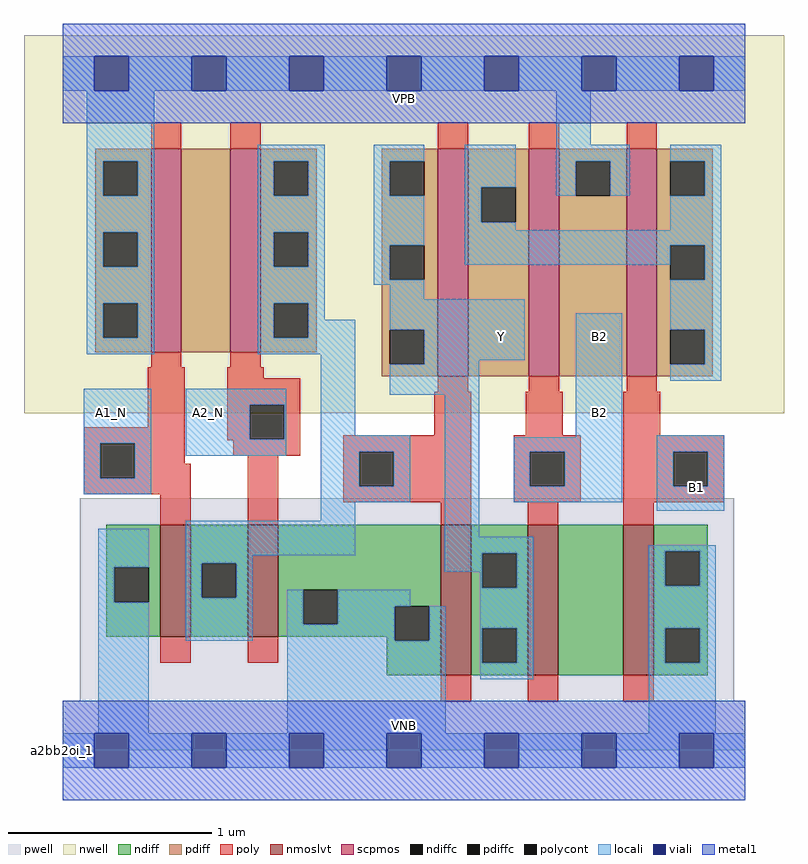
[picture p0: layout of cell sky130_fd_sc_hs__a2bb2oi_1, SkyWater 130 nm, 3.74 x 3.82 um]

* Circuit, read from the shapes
.subckt sky130_fd_sc_hs__a2bb2oi_1 A1_N A2_N B1 B2 VGND VNB VPB VPWR Y
XM1 n1 A1_N VGND VNB sky130_fd_pr__nfet_01v8_lvt w=0.55 l=0.15
XM2 VGND A2_N n1 VNB sky130_fd_pr__nfet_01v8_lvt w=0.55 l=0.15
XM3 Y n1 VGND VNB sky130_fd_pr__nfet_01v8_lvt w=0.74 l=0.15
XM4 n2 B2 Y VNB sky130_fd_pr__nfet_01v8_lvt w=0.74 l=0.15
XM5 VGND B1 n2 VNB sky130_fd_pr__nfet_01v8_lvt w=0.74 l=0.15
XM6 n3 A1_N VPWR VPB sky130_fd_pr__pfet_01v8 w=1 l=0.15
XM7 n1 A2_N n3 VPB sky130_fd_pr__pfet_01v8 w=1 l=0.15
XM8 n4 n1 Y VPB sky130_fd_pr__pfet_01v8 w=1.12 l=0.15
XM9 VPWR B2 n4 VPB sky130_fd_pr__pfet_01v8 w=1.12 l=0.15
XM10 n4 B1 VPWR VPB sky130_fd_pr__pfet_01v8 w=1.12 l=0.15
.ends

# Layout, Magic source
magic
tech sky130A
magscale 1 2
<< nwell >>
rect -38 332 710 704
<< pwell >>
rect 17 49 661 248
rect 0 0 672 49
<< scpmos >>
rect 87 392 117 592
rect 165 392 195 592
rect 369 368 399 592
rect 459 368 489 592
rect 555 368 585 592
<< nmoslvt >>
rect 96 112 126 222
rect 182 112 212 222
rect 372 74 402 222
rect 458 74 488 222
rect 552 74 582 222
<< ndiff >>
rect 43 180 96 222
rect 43 146 51 180
rect 85 146 96 180
rect 43 112 96 146
rect 126 184 182 222
rect 126 150 137 184
rect 171 150 182 184
rect 126 112 182 150
rect 212 158 372 222
rect 212 124 237 158
rect 271 142 372 158
rect 271 124 327 142
rect 212 112 327 124
rect 319 108 327 112
rect 361 108 372 142
rect 319 74 372 108
rect 402 194 458 222
rect 402 160 413 194
rect 447 160 458 194
rect 402 120 458 160
rect 402 86 413 120
rect 447 86 458 120
rect 402 74 458 86
rect 488 74 552 222
rect 582 196 635 222
rect 582 162 593 196
rect 627 162 635 196
rect 582 120 635 162
rect 582 86 593 120
rect 627 86 635 120
rect 582 74 635 86
<< pdiff >>
rect 32 580 87 592
rect 32 546 40 580
rect 74 546 87 580
rect 32 510 87 546
rect 32 476 40 510
rect 74 476 87 510
rect 32 440 87 476
rect 32 406 40 440
rect 74 406 87 440
rect 32 392 87 406
rect 117 392 165 592
rect 195 580 250 592
rect 195 546 208 580
rect 242 546 250 580
rect 195 510 250 546
rect 195 476 208 510
rect 242 476 250 510
rect 195 440 250 476
rect 195 406 208 440
rect 242 406 250 440
rect 195 392 250 406
rect 314 580 369 592
rect 314 546 322 580
rect 356 546 369 580
rect 314 497 369 546
rect 314 463 322 497
rect 356 463 369 497
rect 314 414 369 463
rect 314 380 322 414
rect 356 380 369 414
rect 314 368 369 380
rect 399 554 459 592
rect 399 520 412 554
rect 446 520 459 554
rect 399 368 459 520
rect 489 580 555 592
rect 489 546 505 580
rect 539 546 555 580
rect 489 368 555 546
rect 585 580 640 592
rect 585 546 598 580
rect 632 546 640 580
rect 585 497 640 546
rect 585 463 598 497
rect 632 463 640 497
rect 585 414 640 463
rect 585 380 598 414
rect 632 380 640 414
rect 585 368 640 380
<< ndiffc >>
rect 51 146 85 180
rect 137 150 171 184
rect 237 124 271 158
rect 327 108 361 142
rect 413 160 447 194
rect 413 86 447 120
rect 593 162 627 196
rect 593 86 627 120
<< pdiffc >>
rect 40 546 74 580
rect 40 476 74 510
rect 40 406 74 440
rect 208 546 242 580
rect 208 476 242 510
rect 208 406 242 440
rect 322 546 356 580
rect 322 463 356 497
rect 322 380 356 414
rect 412 520 446 554
rect 505 546 539 580
rect 598 546 632 580
rect 598 463 632 497
rect 598 380 632 414
<< poly >>
rect 87 592 117 618
rect 165 592 195 618
rect 369 592 399 618
rect 459 592 489 618
rect 555 592 585 618
rect 87 377 117 392
rect 165 377 195 392
rect 84 318 120 377
rect 21 302 120 318
rect 162 366 198 377
rect 162 340 234 366
rect 369 353 399 368
rect 459 353 489 368
rect 555 353 585 368
rect 162 306 184 340
rect 218 306 234 340
rect 366 310 402 353
rect 456 310 492 353
rect 552 310 588 353
rect 162 305 234 306
rect 21 268 37 302
rect 71 282 120 302
rect 168 290 234 305
rect 276 294 402 310
rect 71 268 126 282
rect 21 252 126 268
rect 96 222 126 252
rect 182 222 212 290
rect 276 260 292 294
rect 326 260 402 294
rect 276 244 402 260
rect 444 294 510 310
rect 444 260 460 294
rect 494 260 510 294
rect 444 244 510 260
rect 552 294 651 310
rect 552 260 601 294
rect 635 260 651 294
rect 552 244 651 260
rect 372 222 402 244
rect 458 222 488 244
rect 552 222 582 244
rect 96 86 126 112
rect 182 86 212 112
rect 372 48 402 74
rect 458 48 488 74
rect 552 48 582 74
<< polycont >>
rect 184 306 218 340
rect 37 268 71 302
rect 292 260 326 294
rect 460 260 494 294
rect 601 260 635 294
<< locali >>
rect 0 649 31 683
rect 65 649 127 683
rect 161 649 223 683
rect 257 649 319 683
rect 353 649 415 683
rect 449 649 511 683
rect 545 649 607 683
rect 641 649 672 683
rect 24 580 90 649
rect 486 596 520 649
rect 24 546 40 580
rect 74 546 90 580
rect 24 510 90 546
rect 24 476 40 510
rect 74 476 90 510
rect 24 440 90 476
rect 24 406 40 440
rect 74 406 90 440
rect 24 390 90 406
rect 192 580 258 596
rect 192 546 208 580
rect 242 546 258 580
rect 192 510 258 546
rect 192 476 208 510
rect 242 476 258 510
rect 192 440 258 476
rect 306 580 356 596
rect 306 546 322 580
rect 306 497 356 546
rect 306 463 322 497
rect 396 554 446 596
rect 396 520 412 554
rect 486 580 558 596
rect 486 546 505 580
rect 539 546 558 580
rect 598 580 648 596
rect 632 546 648 580
rect 396 512 446 520
rect 598 512 648 546
rect 396 497 648 512
rect 396 478 598 497
rect 306 458 356 463
rect 192 406 208 440
rect 242 424 258 440
rect 322 444 356 458
rect 632 463 648 497
rect 242 406 288 424
rect 192 390 288 406
rect 21 302 87 356
rect 21 268 37 302
rect 71 268 87 302
rect 121 340 220 356
rect 121 306 184 340
rect 218 306 220 340
rect 121 290 220 306
rect 254 310 288 390
rect 322 414 455 444
rect 356 384 455 414
rect 356 380 410 384
rect 322 350 410 380
rect 254 294 342 310
rect 21 252 87 268
rect 254 260 292 294
rect 326 260 342 294
rect 254 244 342 260
rect 254 226 288 244
rect 35 180 85 218
rect 35 146 51 180
rect 35 17 85 146
rect 121 192 288 226
rect 376 210 410 350
rect 505 308 551 430
rect 598 414 648 463
rect 632 380 648 414
rect 598 364 648 380
rect 444 294 551 308
rect 444 260 460 294
rect 494 260 551 294
rect 444 244 551 260
rect 585 294 651 310
rect 585 260 601 294
rect 635 260 651 294
rect 585 236 651 260
rect 376 194 463 210
rect 121 184 187 192
rect 121 150 137 184
rect 171 150 187 184
rect 376 176 413 194
rect 411 160 413 176
rect 447 160 463 194
rect 121 108 187 150
rect 221 124 237 158
rect 271 142 342 158
rect 271 124 327 142
rect 221 108 327 124
rect 361 108 377 142
rect 221 17 377 108
rect 411 120 463 160
rect 411 86 413 120
rect 447 86 463 120
rect 411 70 463 86
rect 577 196 643 202
rect 577 162 593 196
rect 627 162 643 196
rect 577 120 643 162
rect 577 86 593 120
rect 627 86 643 120
rect 577 17 643 86
rect 0 -17 31 17
rect 65 -17 127 17
rect 161 -17 223 17
rect 257 -17 319 17
rect 353 -17 415 17
rect 449 -17 511 17
rect 545 -17 607 17
rect 641 -17 672 17
<< viali >>
rect 31 649 65 683
rect 127 649 161 683
rect 223 649 257 683
rect 319 649 353 683
rect 415 649 449 683
rect 511 649 545 683
rect 607 649 641 683
rect 31 -17 65 17
rect 127 -17 161 17
rect 223 -17 257 17
rect 319 -17 353 17
rect 415 -17 449 17
rect 511 -17 545 17
rect 607 -17 641 17
<< metal1 >>
rect 0 683 672 715
rect 0 649 31 683
rect 65 649 127 683
rect 161 649 223 683
rect 257 649 319 683
rect 353 649 415 683
rect 449 649 511 683
rect 545 649 607 683
rect 641 649 672 683
rect 0 617 672 649
rect 0 17 672 49
rect 0 -17 31 17
rect 65 -17 127 17
rect 161 -17 223 17
rect 257 -17 319 17
rect 353 -17 415 17
rect 449 -17 511 17
rect 545 -17 607 17
rect 641 -17 672 17
rect 0 -49 672 -17
<< labels >>
rlabel comment s 0 0 0 0 4 a2bb2oi_1
flabel pwell s 0 0 672 49 0 FreeSans 200 0 0 0 VNB
port 6 nsew ground bidirectional
flabel nwell s 0 617 672 666 0 FreeSans 200 0 0 0 VPB
port 7 nsew power bidirectional
flabel metal1 s 0 617 672 666 0 FreeSans 340 0 0 0 VPWR
port 8 nsew power bidirectional
flabel metal1 s 0 0 672 49 0 FreeSans 340 0 0 0 VGND
port 5 nsew ground bidirectional
flabel locali s 415 390 449 424 0 FreeSans 340 0 0 0 Y
port 9 nsew signal output
flabel locali s 127 316 161 350 0 FreeSans 340 0 0 0 A2_N
port 2 nsew signal input
flabel locali s 31 316 65 350 0 FreeSans 340 0 0 0 A1_N
port 1 nsew signal input
flabel locali s 511 316 545 350 0 FreeSans 340 0 0 0 B2
port 4 nsew signal input
flabel locali s 511 390 545 424 0 FreeSans 340 0 0 0 B2
port 4 nsew signal input
flabel locali s 607 242 641 276 0 FreeSans 340 0 0 0 B1
port 3 nsew signal input
<< properties >>
string LEFsite unit
string LEFclass CORE
string FIXED_BBOX 0 0 672 666
string GDS_FILE $PDKPATH/libs.ref/sky130_fd_sc_hs/gds/sky130_fd_sc_hs.gds
string LEFsymmetry X Y
string GDS_END 1934520
string GDS_START 1927888
<< end >>
